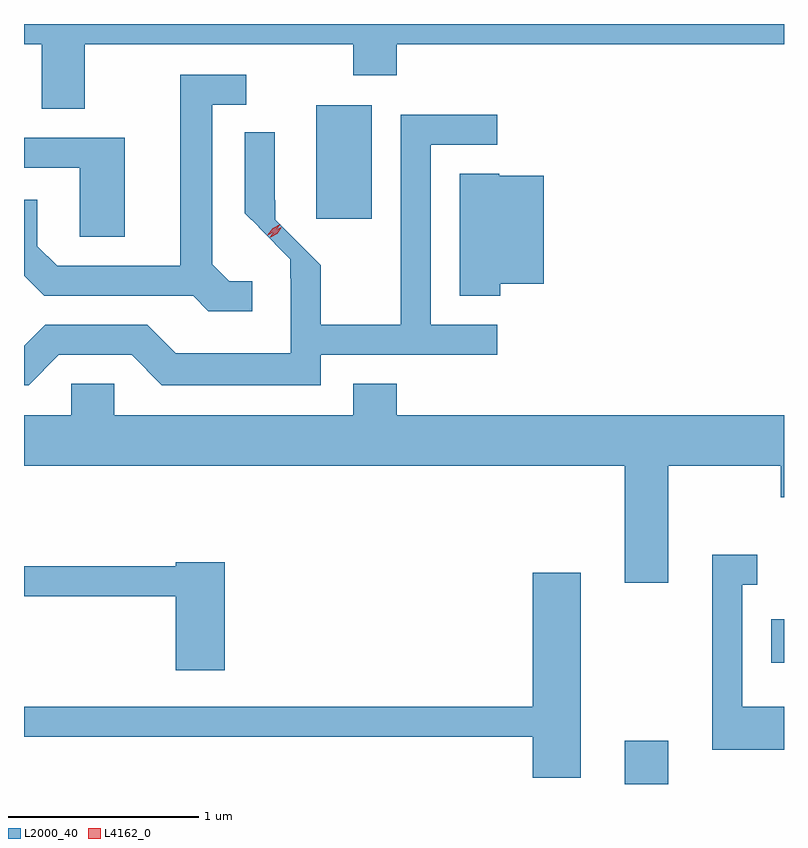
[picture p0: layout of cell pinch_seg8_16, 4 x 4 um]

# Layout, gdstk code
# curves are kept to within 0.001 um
import gdstk
lib = gdstk.Library(unit=1e-6, precision=1e-09)
def R(c, l, rs):  # rectangles x0, y0, x1, y1
    for r in rs: c.add(gdstk.rectangle(r[:2], r[2:], *l))
def P(c, l, *ps):  # polygons
    for p in ps: c.add(gdstk.Polygon(p, *l))
L2000_40 = (2000, 40)
L4162_0 = (4162, 0)

pinch_seg8_16 = lib.new_cell('pinch_seg8_16')
R(pinch_seg8_16, L2000_40, [(1801.601,1836.962,1801.829,1837.189), (1802.371,1837.601,1802.438,1837.829), (1799.976,1839.936,1800.269,1840.534)])
P(pinch_seg8_16, L2000_40, [(1798.759,1840.856),(1800.171,1840.856),(1800.171,1840.691),(1800.399,1840.691),(1800.399,1840.856),(1802.438,1840.856),(1802.438,1840.962),(1798.438,1840.962),(1798.438,1840.856),(1798.531,1840.856),(1798.531,1840.516),(1798.759,1840.516)],
  [(1799.638,1839.609),(1799.517,1839.609),(1799.429,1839.697),(1799.429,1840.536),(1799.608,1840.536),(1799.608,1840.694),(1799.261,1840.694),(1799.261,1839.689),(1798.612,1839.689),(1798.509,1839.792),(1798.509,1840.038),(1798.438,1840.038),(1798.438,1839.637),(1798.544,1839.531),(1799.329,1839.531),(1799.409,1839.451),(1799.638,1839.451)],
  [(1798.622,1839.221),(1799.004,1839.221),(1799.164,1839.061),(1799.999,1839.061),(1799.999,1839.221),(1800.928,1839.221),(1800.928,1839.379),(1800.579,1839.379),(1800.579,1840.326),(1800.928,1840.326),(1800.928,1840.484),(1800.421,1840.484),(1800.421,1839.379),(1799.999,1839.379),(1799.999,1839.693),(1799.761,1839.931),(1799.761,1840.035),(1799.759,1840.035),(1799.759,1840.393),(1799.601,1840.393),(1799.601,1839.966),(1799.675,1839.892),(1799.673,1839.891),(1799.84,1839.724),(1799.841,1839.229),(1799.237,1839.229),(1799.087,1839.379),(1798.549,1839.379),(1798.438,1839.268),(1798.438,1839.061),(1798.462,1839.061)],
  [(1798.969,1840.364),(1798.438,1840.364),(1798.438,1840.206),(1798.731,1840.206),(1798.731,1839.841),(1798.969,1839.841)],
  [(1800.944,1839.596),(1801.174,1839.596),(1801.174,1840.164),(1800.94,1840.164),(1800.94,1840.174),(1800.731,1840.174),(1800.731,1839.531),(1800.944,1839.531)],
  [(1800.399,1839.069),(1800.171,1839.069),(1800.171,1838.904),(1798.914,1838.904),(1798.914,1839.069),(1798.686,1839.069),(1798.686,1838.904),(1798.438,1838.904),(1798.438,1838.636),(1801.601,1838.636),(1801.601,1838.021),(1801.829,1838.021),(1801.829,1838.636),(1802.421,1838.636),(1802.421,1838.471),(1802.438,1838.471),(1802.438,1838.904),(1800.399,1838.904)],
  [(1802.438,1837.369),(1802.219,1837.369),(1802.219,1838.011),(1802.298,1838.011),(1802.298,1838.169),(1802.061,1838.169),(1802.061,1837.141),(1802.438,1837.141)],
  [(1799.494,1838.129),(1799.236,1838.129),(1799.236,1838.109),(1798.438,1838.109),(1798.438,1837.951),(1799.236,1837.951),(1799.236,1837.561),(1799.494,1837.561)],
  [(1801.369,1838.074),(1801.116,1838.074),(1801.116,1837.369),(1798.438,1837.369),(1798.438,1837.211),(1801.116,1837.211),(1801.116,1836.996),(1801.369,1836.996)])
P(pinch_seg8_16, L4162_0, [(1799.719,1839.849),(1799.719,1839.849),(1799.746,1839.886),(1799.786,1839.907),(1799.787,1839.907),(1799.787,1839.907),(1799.76,1839.87),(1799.72,1839.849)],
  [(1799.735,1839.84),(1799.735,1839.841),(1799.757,1839.873),(1799.792,1839.891),(1799.793,1839.891),(1799.793,1839.89),(1799.77,1839.858),(1799.736,1839.84)])

lib.write_gds('pinch_seg8_16.gds')
